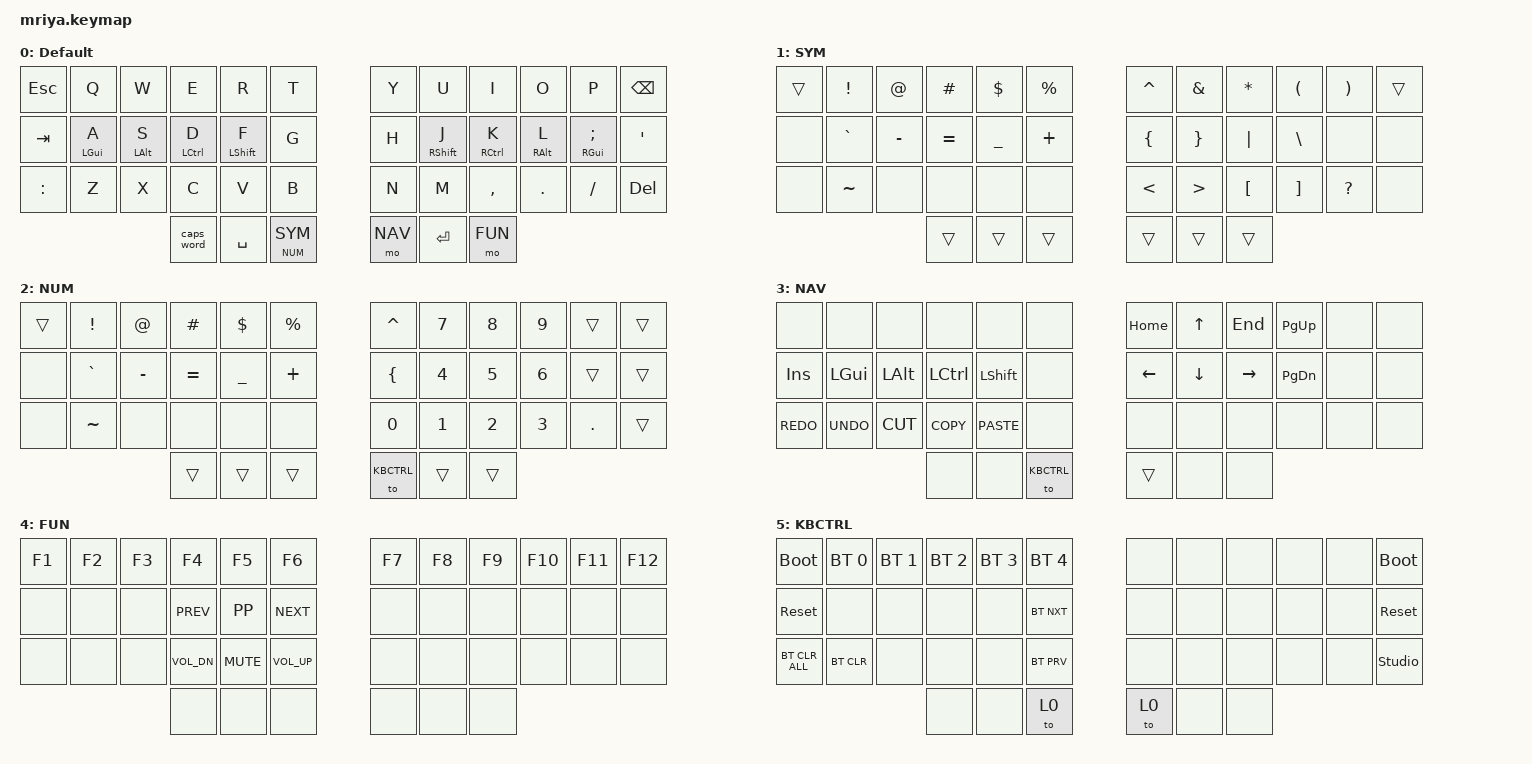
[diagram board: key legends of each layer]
/*
 * Copyright (c) 2020 The ZMK Contributors
 *
 * SPDX-License-Identifier: MIT
 */

#include <behaviors.dtsi>
#include <dt-bindings/zmk/keys.h>
#include <dt-bindings/zmk/bt.h>

#define DEFAULT 0
#define SYM     1
#define NUM     2
#define NAV     3
#define FUN     4
#define KBCTRL  5

#define HM_A  &hm LGUI A
#define HM_S  &hm LALT S
#define HM_D  &hm LCTL D
#define HM_F  &hm LSHFT F

#define HM_J  &hm RSHFT J
#define HM_K  &hm RCTL  K
#define HM_L  &hm RALT  L
#define HM_SCLN &hm RGUI SEMI

&lt {
};

&mt { flavor = "balanced"; };

/ {
};

/ {
    combos {
        compatible = "zmk,combos";

        ju-enter {
            bindings = <&kp ENTER>;
            key-positions = <7 19>;
        };

        fr-enter {
            bindings = <&kp ENTER>;
            key-positions = <16 4>;
        };
    };
    behaviors {
        hm: home_row_mods {
            compatible = "zmk,behavior-hold-tap";
            #binding-cells = <2>;
            tapping-term-ms = <250>;
            quick-tap-ms = <0>;
            flavor = "tap-preferred";
            bindings = <&kp>, <&kp>;
        };
        // &lt_tog first_layer second_layer
        // switch first_layer when hold
        // toggle the second layer for single shot on tap
        lt_tog: layer_tap_toggle {
            compatible = "zmk,behavior-hold-tap";
            #binding-cells = <2>;
            flavor = "balanced";
            tapping-term-ms = <200>;
            bindings = <&mo>, <&sl>;
        };
    };
};

/ {
    keymap {
        compatible = "zmk,keymap";

        // ▄▄▄▄▄▄▄▄▄▄▄▄▄▄▄▄▄▄▄▄▄▄▄▄▄▄▄▄▄▄▄▄▄▄▄▄▄▄▄▄▄▄▄▄▄▄▄▄▄▄▄▄▄▄▄▄▄▄▄▄▄▄▄▄▄▄▄▄▄▄▄▄▄▄▄▄▄▄▄▄▄▄▄▄▄▄▄▄▄▄▄▄▄▄▄▄▄▄▄▄▄▄▄▄▄▄▄▄▄▄▄▄▄▄

        default_layer {
            label = "Default";
            /*
┌───────┬───────┬───────┬───────┬───────┬───────┐                   ┌───────┬───────┬───────┬───────┬───────┬───────┐
│  ESC  │   Q   │   W   │   E   │   R   │   T   │                   │   Y   │   U   │   I   │   O   │   P   │ BSPC  │
├───────┼───────┼───────┼───────┼───────┼───────┤                   ├───────┼───────┼───────┼───────┼───────┼───────┤
│  TAB  │ A/GUI │ S/ALT │ D/CTL │ F/SFT │   G   │                   │   H   │ J/SFT │ K/CTL │ L/ALT │ ;/GUI │   '   │
├───────┼───────┼───────┼───────┼───────┼───────┤                   ├───────┼───────┼───────┼───────┼───────┼───────┤
│  :    │   Z   │   X   │   C   │   V   │   B   │                   │   N   │   M   │   ,   │   .   │   /   │ DEL   │
└───────┴───────┴───────┴───────┼───────┼───────┼─────────┐ ┌───────┼───────┼───────┼───────┴───────┴───────┴───────┘
                                │  CAPS │ SPACE │ NAV/SYM | │  NUM  │ ENTER │  FUN  │
                                └───────┴───────┴─────────┘ └───────┴───────┴───────┘
            */

            bindings = <
                &kp ESC    &kp Q     &kp W     &kp E     &kp R     &kp T                   &kp Y     &kp U     &kp I     &kp O     &kp P     &kp BSPC
                &kp TAB    HM_A      HM_S      HM_D      HM_F      &kp G                   &kp H     HM_J      HM_K      HM_L      HM_SCLN   &kp APOS
                &kp COLON  &kp Z     &kp X     &kp C     &kp V     &kp B                   &kp N     &kp M     &kp COMMA &kp DOT   &kp SLASH &kp DEL
                                               &caps_word &kp SPACE &lt_tog NUM SYM        &mo NAV &kp ENTER &mo FUN
            >;
        };

        // ▄▄▄▄▄▄▄▄▄▄▄▄▄▄▄▄▄▄▄▄▄▄▄▄▄▄▄▄▄▄▄▄▄▄▄▄▄▄▄▄▄▄▄▄▄▄▄▄▄▄▄▄▄▄▄▄▄▄▄▄▄▄▄▄▄▄▄▄▄▄▄▄▄▄▄▄▄▄▄▄▄▄▄▄▄▄▄▄▄▄▄▄▄▄▄▄▄▄▄▄▄▄▄▄▄▄▄▄▄▄▄▄▄▄

        sym_layer {
            label = "SYM";
            /*
┌───────┬───────┬───────┬───────┬───────┬───────┐                   ┌───────┬───────┬───────┬───────┬───────┬───────┐
│       │   !   │   @   │   #   │   $   │   %   │                   │   ^   │   &   │   *   │   (   │   )   │       │
├───────┼───────┼───────┼───────┼───────┼───────┤                   ├───────┼───────┼───────┼───────┼───────┼───────┤
│       │   `   │   -   │   =   │   _   │   +   │                   │   {   │   }   │   |   │   \   │       │       │
├───────┼───────┼───────┼───────┼───────┼───────┤                   ├───────┼───────┼───────┼───────┼───────┼───────┤
│       │   ~   │       │       │       │       │                   │   <   │   >   │   [   │   ]   │   ?   │       │
└───────┴───────┴───────┴───────┼───────┼───────┼───────┐   ┌───────┼───────┼───────┼───────┴───────┴───────┴───────┘
                                │       │       │       │   │       │       │       │
                                └───────┴───────┴───────┘   └───────┴───────┴───────┘
            */

            bindings = <
                &trans &kp EXCL  &kp AT    &kp HASH  &kp DOLLAR &kp PERCENT   &kp CARET &kp AMPS &kp STAR &kp LPAR &kp RPAR &trans
                &none  &kp GRAVE &kp MINUS &kp EQUAL &kp UNDER  &kp PLUS      &kp LEFT_BRACE &kp RIGHT_BRACE &kp PIPE &kp BACKSLASH &none &none
                &none  &kp TILDE &none     &none     &none      &none         &kp LT     &kp GT     &kp LEFT_BRACKET &kp RIGHT_BRACKET &kp QUESTION &none
                               &trans &trans &trans                  &trans &trans &trans
            >;
        };

        // ▄▄▄▄▄▄▄▄▄▄▄▄▄▄▄▄▄▄▄▄▄▄▄▄▄▄▄▄▄▄▄▄▄▄▄▄▄▄▄▄▄▄▄▄▄▄▄▄▄▄▄▄▄▄▄▄▄▄▄▄▄▄▄▄▄▄▄▄▄▄▄▄▄▄▄▄▄▄▄▄▄▄▄▄▄▄▄▄▄▄▄▄▄▄▄▄▄▄▄▄▄▄▄▄▄▄▄▄▄▄▄▄▄▄
 
        num_layer {
            label = "NUM";
            /*
┌───────┬───────┬───────┬───────┬───────┬───────┐                   ┌───────┬───────┬───────┬───────┬───────┬───────┐
│       │       │       │       │       │       │                   │       │   7   │   8   │   9   │       │       │
├───────┼───────┼───────┼───────┼───────┼───────┤                   ├───────┼───────┼───────┼───────┼───────┼───────┤
│       │       │       │       │       │       │                   │       │   4   │   5   │   6   │       │       │
├───────┼───────┼───────┼───────┼───────┼───────┤                   ├───────┼───────┼───────┼───────┼───────┼───────┤
│       │       │       │       │       │       │                   │  0    │   1   │   2   │   3   │   .   │       │
└───────┴───────┴───────┴───────┼───────┼───────┼───────┐   ┌───────┼───────┼───────┼───────┴───────┴───────┴───────┘
                                │       │       │       │   │       │       │       │
                                └───────┴───────┴───────┘   └───────┴───────┴───────┘
            */

            bindings = <
                &trans &kp EXCL  &kp AT    &kp HASH  &kp DOLLAR &kp PERCENT    &kp CARET &kp N7 &kp N8 &kp N9 &trans &trans
                &none  &kp GRAVE &kp MINUS &kp EQUAL &kp UNDER  &kp PLUS       &kp LEFT_BRACE &kp N4 &kp N5 &kp N6 &trans &trans
                &none  &kp TILDE &none     &none     &none      &none          &kp N0 &kp N1 &kp N2 &kp N3 &kp DOT &trans  
                               &trans &trans &trans       &to KBCTRL &trans &trans
            >;
        };

       // ▄▄▄▄▄▄▄▄▄▄▄▄▄▄▄▄▄▄▄▄▄▄▄▄▄▄▄▄▄▄▄▄▄▄▄▄▄▄▄▄▄▄▄▄▄▄▄▄▄▄▄▄▄▄▄▄▄▄▄▄▄▄▄▄▄▄▄▄▄▄▄▄▄▄▄▄▄▄▄▄▄▄▄▄▄▄▄▄▄▄▄▄▄▄▄▄▄▄▄▄▄▄▄▄▄▄▄▄▄▄▄▄▄▄

        nav_layer {
            label = "NAV";
            /*
┌───────┬───────┬───────┬───────┬───────┬───────┐                   ┌───────┬───────┬───────┬───────┬───────┬───────┐
│       │       │       │       │       │       │                   │ HOME  │  UP   │  END  │ PGUP  │       │       │
├───────┼───────┼───────┼───────┼───────┼───────┤                   ├───────┼───────┼───────┼───────┼───────┼───────┤
│ INS   │ LGUI  │ LALT  │ LCTL  │ LSFT  │       │                   │ LEFT  │ DOWN  │ RIGHT │ PGDN  │       │       │
├───────┼───────┼───────┼───────┼───────┼───────┤                   ├───────┼───────┼───────┼───────┼───────┼───────┤
│ REDO  │ UNDO  │ CUT   │ COPY  │ PASTE │       │                   │       │       │       │       │       │       │
└───────┴───────┴───────┴───────┼───────┼───────┼───────┐   ┌───────┼───────┼───────┼───────┴───────┴───────┴───────┘
                                │       │       │       │   │       │       │       │
                                └───────┴───────┴───────┘   └───────┴───────┴───────┘
            */

            bindings = <
                &none &none &none &none &none &none                 &kp HOME &kp UP    &kp END   &kp PG_UP &none &none
                &kp INS &kp LGUI &kp LALT &kp LCTL &kp LSHFT &none    &kp LEFT &kp DOWN &kp RIGHT &kp PG_DN &none &none
                &kp K_REDO &kp K_UNDO &kp K_CUT  &kp K_COPY &kp K_PASTE  &none   &none &none &none &none &none &none
                                            &none &none &to KBCTRL  &trans &none &none
            >;
        };

        // ▄▄▄▄▄▄▄▄▄▄▄▄▄▄▄▄▄▄▄▄▄▄▄▄▄▄▄▄▄▄▄▄▄▄▄▄▄▄▄▄▄▄▄▄▄▄▄▄▄▄▄▄▄▄▄▄▄▄▄▄▄▄▄▄▄▄▄▄▄▄▄▄▄▄▄▄▄▄▄▄▄▄▄▄▄▄▄▄▄▄▄▄▄▄▄▄▄▄▄▄▄▄▄▄▄▄▄▄▄▄▄▄▄▄

        fun_layer {
            label = "FUN";
            /*
┌───────┬───────┬───────┬───────┬───────┬───────┐                   ┌───────┬───────┬───────┬───────┬───────┬───────┐
│  F1   │  F2   │  F3   │  F4   │  F5   │  F6   │                   │  F7   │  F8   │  F9   │ F10   │ F11   │ F12   │
├───────┼───────┼───────┼───────┼───────┼───────┤                   ├───────┼───────┼───────┼───────┼───────┼───────┤
│       │       │       │ PREV  │ PLAY  │ NEXT  │                   │       │       │       │       │       │       │
├───────┼───────┼───────┼───────┼───────┼───────┤                   ├───────┼───────┼───────┼───────┼───────┼───────┤
│       │       │       │ VOLD  │ MUTE  │ VOLU  │                   │       │       │       │       │       │       │
└───────┴───────┴───────┴───────┼───────┼───────┼───────┐   ┌───────┼───────┼───────┼───────┴───────┴───────┴───────┘
                                │       │       │       │   │       │       │       │
                                └───────┴───────┴───────┘   └───────┴───────┴───────┘
            */

            bindings = <
                &kp F1 &kp F2 &kp F3 &kp F4 &kp F5 &kp F6                 &kp F7 &kp F8 &kp F9 &kp F10 &kp F11 &kp F12
                &none  &none  &none &kp K_PREV  &kp K_PP &kp K_NEXT       &none   &none   &none &none  &none  &none  
                &none  &none  &none &kp K_VOL_DN &kp K_MUTE &kp K_VOL_UP  &none   &none   &none &none  &none  &none  
                              &none &none &none                 &none &none &none
            >;
        };

        // ▄▄▄▄▄▄▄▄▄▄▄▄▄▄▄▄▄▄▄▄▄▄▄▄▄▄▄▄▄▄▄▄▄▄▄▄▄▄▄▄▄▄▄▄▄▄▄▄▄▄▄▄▄▄▄▄▄▄▄▄▄▄▄▄▄▄▄▄▄▄▄▄▄▄▄▄▄▄▄▄▄▄▄▄▄▄▄▄▄▄▄▄▄▄▄▄▄▄▄▄▄▄▄▄▄▄▄▄▄▄▄▄▄▄

        kb_control_layer {
            // ┌────────────────────────────────────────────┐

            label = "KBCTRL";

            // └────────────────────────────────────────────┘
            /*
┌───────┬───────┬───────┬───────┬───────┬───────┐                   ┌───────┬───────┬───────┬───────┬───────┬───────┐
│ BKSP  │   *   │   9   │   8   │   7   │   +   │                   │ NEXT  │ VOLU  │ PSCRN │       │       │ RGUI  │
├───────┼───────┼───────┼───────┼───────┼───────┤                   ├───────┼───────┼───────┼───────┼───────┼───────┤                      
│ CTRL  │   /   │   3   │   2   │   1   │   0   │                   │ PLAY  │ VOLD  │       │       │       │ CTRL  │
├───────┼───────┼───────┼───────┼───────┼───────┤                   ├───────┼───────┼───────┼───────┼───────┼───────┤
│ ALT/= │   .   │   6   │   5   │   4   │   -   │                   │ PREV  │ MUTE  │       │       │       │ RALT  │
└───────┴───────┴───────┴───────┼───────┼───────┼───────┐   ┌───────┼───────┼───────┼───────┴───────┴───────┴───────┘
                                │   ▲   │ LSHFT │  ADJ  │   │  ADJ  │ RSHFT │   ▲   │
                                └───────┴───────┴───────┘   └───────┴───────┴───────┘  
*/

            bindings = <
&bootloader     &bt BT_SEL 0  &bt BT_SEL 1  &bt BT_SEL 2  &bt BT_SEL 3  &bt BT_SEL 4                &none  &none  &none  &none  &none  &bootloader
&sys_reset      &none         &none         &none         &none         &bt BT_NXT                  &none  &none  &none  &none  &none  &sys_reset
&bt BT_CLR_ALL  &bt BT_CLR    &none         &none         &none         &bt BT_PRV                  &none  &none  &none  &none  &none  &studio_unlock
                                                          &none         &none         &to 0  &to 0  &none  &none
            >;
        };

        // ▄▄▄▄▄▄▄▄▄▄▄▄▄▄▄▄▄▄▄▄▄▄▄▄▄▄▄▄▄▄▄▄▄▄▄▄▄▄▄▄▄▄▄▄▄▄▄▄▄▄▄▄▄▄▄▄▄▄▄▄▄▄▄▄▄▄▄▄▄▄▄▄▄▄▄▄▄▄▄▄▄▄▄▄▄▄▄▄▄▄▄▄▄▄▄▄▄▄▄▄▄▄▄▄▄▄▄▄▄▄▄▄▄▄
        // ▄▄▄▄▄▄▄▄▄▄▄▄▄▄▄▄▄▄▄▄▄▄▄▄▄▄▄▄▄▄▄▄▄▄▄▄▄▄▄▄▄▄▄▄▄▄▄▄▄▄▄▄▄▄▄▄▄▄▄▄▄▄▄▄▄▄▄▄▄▄▄▄▄▄▄▄▄▄▄▄▄▄▄▄▄▄▄▄▄▄▄▄▄▄▄▄▄▄▄▄▄▄▄▄▄▄▄▄▄▄▄▄▄▄		
    };
};
